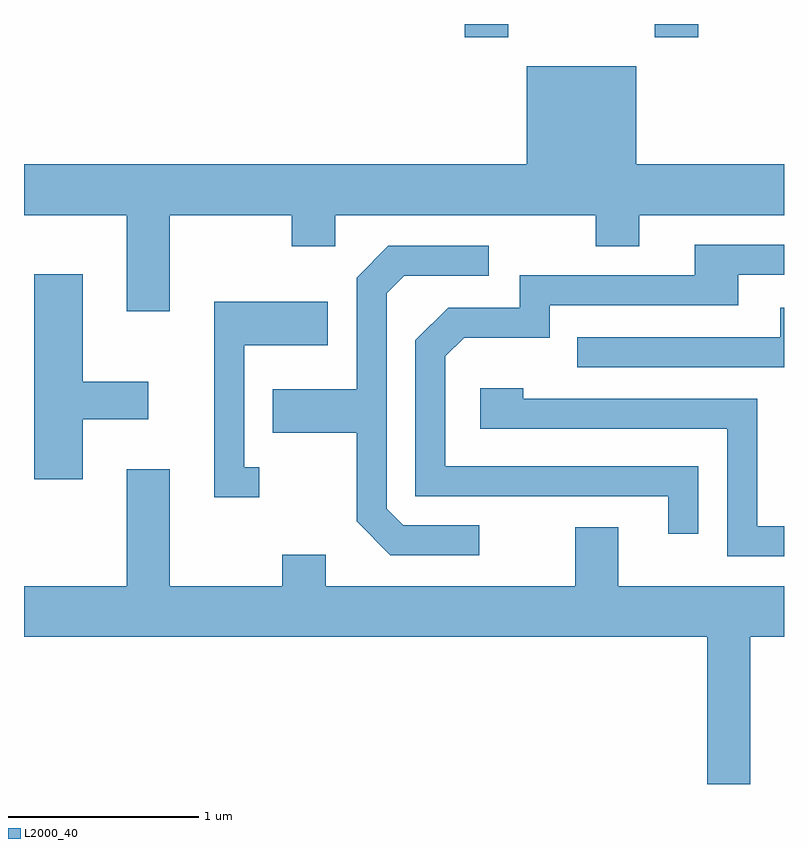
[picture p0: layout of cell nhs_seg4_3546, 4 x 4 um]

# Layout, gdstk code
import gdstk
lib = gdstk.Library(unit=1e-6, precision=1e-09)
def R(c, l, rs):  # rectangles x0, y0, x1, y1
    for r in rs: c.add(gdstk.rectangle(r[:2], r[2:], *l))
def P(c, l, *ps):  # polygons
    for p in ps: c.add(gdstk.Polygon(p, *l))
L2000_40 = (2000, 40)

nhs_seg4_3546 = lib.new_cell('nhs_seg4_3546')
R(nhs_seg4_3546, L2000_40, [(291.931,1277.911,292.159,1277.982), (292.931,1277.911,293.159,1277.982)])
P(nhs_seg4_3546, L2000_40, [(290.379,1276.976),(291.021,1276.976),(291.021,1276.811),(291.249,1276.811),(291.249,1276.976),(292.621,1276.976),(292.621,1276.811),(292.849,1276.811),(292.849,1276.976),(293.611,1276.976),(293.611,1277.244),(292.834,1277.244),(292.834,1277.759),(292.256,1277.759),(292.256,1277.244),(289.611,1277.244),(289.611,1276.976),(290.151,1276.976),(290.151,1276.471),(290.379,1276.471)],
  [(293.159,1275.654),(291.829,1275.654),(291.829,1276.234),(291.927,1276.331),(292.379,1276.331),(292.379,1276.501),(293.369,1276.501),(293.369,1276.661),(293.611,1276.661),(293.611,1276.819),(293.141,1276.819),(293.141,1276.659),(292.221,1276.659),(292.221,1276.489),(291.844,1276.489),(291.671,1276.317),(291.671,1275.496),(293.001,1275.496),(293.001,1275.298),(293.159,1275.298)],
  [(292.008,1275.344),(291.607,1275.344),(291.519,1275.432),(291.519,1276.564),(291.612,1276.656),(292.058,1276.656),(292.058,1276.814),(291.529,1276.814),(291.361,1276.647),(291.361,1276.059),(290.921,1276.059),(290.921,1275.831),(291.361,1275.831),(291.361,1275.364),(291.539,1275.186),(292.008,1275.186)],
  [(289.919,1275.901),(290.264,1275.901),(290.264,1276.099),(289.919,1276.099),(289.919,1276.664),(289.666,1276.664),(289.666,1275.586),(289.919,1275.586)],
  [(290.848,1275.649),(290.769,1275.649),(290.769,1276.291),(291.209,1276.291),(291.209,1276.519),(290.611,1276.519),(290.611,1275.491),(290.848,1275.491)],
  [(293.611,1276.489),(293.591,1276.489),(293.591,1276.334),(292.523,1276.334),(292.523,1276.176),(293.611,1276.176)],
  [(293.611,1275.339),(293.469,1275.339),(293.469,1276.009),(292.239,1276.009),(292.239,1276.064),(292.011,1276.064),(292.011,1275.851),(293.311,1275.851),(293.311,1275.181),(293.611,1275.181)],
  [(293.434,1274.756),(293.611,1274.756),(293.611,1275.024),(292.739,1275.024),(292.739,1275.334),(292.511,1275.334),(292.511,1275.024),(291.199,1275.024),(291.199,1275.189),(290.971,1275.189),(290.971,1275.024),(290.379,1275.024),(290.379,1275.639),(290.151,1275.639),(290.151,1275.024),(289.611,1275.024),(289.611,1274.756),(293.206,1274.756),(293.206,1273.982),(293.434,1273.982)])

lib.write_gds('nhs_seg4_3546.gds')
